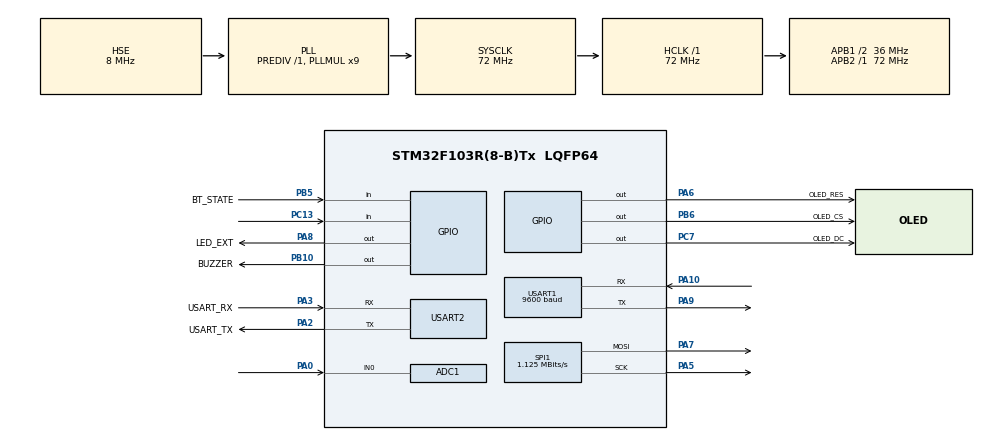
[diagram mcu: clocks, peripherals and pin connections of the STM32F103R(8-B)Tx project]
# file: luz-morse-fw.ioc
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ADC1.Channel-0\#ChannelRegularConversion=ADC_CHANNEL_0
ADC1.NbrOfConversionFlag=1
ADC1.Rank-0\#ChannelRegularConversion=1
ADC1.SamplingTime-0\#ChannelRegularConversion=ADC_SAMPLETIME_71CYCLES_5
ADC1.master=1
Mcu.Family=STM32F1
Mcu.Name=STM32F103R(8-B)Tx
Mcu.Package=LQFP64
NVIC.PriorityGroup=NVIC_PRIORITYGROUP_4
NVIC.USART1_IRQn=true\:0\:0\:false\:false\:true\:true\:true\:true
NVIC.USART2_IRQn=true\:0\:0\:false\:false\:true\:true\:true\:true
PA0-WKUP.Signal=ADCx_IN0
PA10.Mode=Asynchronous
PA10.Signal=USART1_RX
PA13.GPIO_Label=TMS
PA13.Mode=Serial_Wire
PA13.Signal=SYS_JTMS-SWDIO
PA14.GPIO_Label=TCK
PA14.Mode=Serial_Wire
PA14.Signal=SYS_JTCK-SWCLK
PA2.GPIO_Label=USART_TX
PA2.GPIO_Mode=GPIO_MODE_AF_PP
PA2.GPIO_PuPd=GPIO_NOPULL
PA2.GPIO_Speed=GPIO_SPEED_FREQ_LOW
PA2.Mode=Asynchronous
PA2.Signal=USART2_TX
PA3.GPIO_Label=USART_RX
PA3.GPIO_Mode=GPIO_MODE_AF_PP
PA3.GPIO_PuPd=GPIO_NOPULL
PA3.GPIO_Speed=GPIO_SPEED_FREQ_LOW
PA3.Mode=Asynchronous
PA3.Signal=USART2_RX
PA5.Mode=TX_Only_Simplex_Unidirect_Master
PA5.Signal=SPI1_SCK
PA6.GPIO_Label=OLED_RES
PA6.Signal=GPIO_Output
PA7.Mode=TX_Only_Simplex_Unidirect_Master
PA7.Signal=SPI1_MOSI
PA8.GPIO_Label=LED_EXT
PA8.Signal=GPIO_Output
PA9.Mode=Asynchronous
PA9.Signal=USART1_TX
PB10.GPIO_Label=BUZZER
PB10.Signal=GPIO_Output
PB3.GPIO_Label=SWO
PB3.Signal=SYS_JTDO-TRACESWO
PB5.GPIO_Label=BT_STATE
PB5.GPIO_PuPd=GPIO_PULLDOWN
PB5.Signal=GPIO_Input
PB6.GPIO_Label=OLED_CS
PB6.PinState=GPIO_PIN_SET
PB6.Signal=GPIO_Output
PC13-TAMPER-RTC.GPIO_PuPd=GPIO_PULLUP
PC13-TAMPER-RTC.Signal=GPIO_Input
PC14-OSC32_IN.Signal=RCC_OSC32_IN
PC15-OSC32_OUT.Signal=RCC_OSC32_OUT
PC7.GPIO_Label=OLED_DC
PC7.Signal=GPIO_Output
PD0-OSC_IN.Mode=HSE-External-Clock-Source
PD0-OSC_IN.Signal=RCC_OSC_IN
PD1-OSC_OUT.Mode=HSE-External-Clock-Source
PD1-OSC_OUT.Signal=RCC_OSC_OUT
ProjectManager.HeapSize=0x200
ProjectManager.StackSize=0x400
ProjectManager.TargetToolchain=STM32CubeIDE
RCC.ADCPresc=RCC_ADCPCLK2_DIV6
RCC.AHBFreq_Value=72000000
RCC.APB1CLKDivider=RCC_HCLK_DIV2
RCC.APB1Freq_Value=36000000
RCC.APB1TimFreq_Value=72000000
RCC.APB2Freq_Value=72000000
RCC.APB2TimFreq_Value=72000000
RCC.HCLKFreq_Value=72000000
RCC.PLLMUL=RCC_PLL_MUL9
RCC.PLLSourceVirtual=RCC_PLLSOURCE_HSE
RCC.RTCClockSelection=RCC_RTCCLKSOURCE_LSE
RCC.SYSCLKFreq_VALUE=72000000
RCC.SYSCLKSource=RCC_SYSCLKSOURCE_PLLCLK
RCC.USBFreq_Value=72000000
SH.ADCx_IN0.0=ADC1_IN0,IN0
SPI1.BaudRatePrescaler=SPI_BAUDRATEPRESCALER_64
SPI1.CalculateBaudRate=1.125 MBits/s
SPI1.Direction=SPI_DIRECTION_2LINES
SPI1.Mode=SPI_MODE_MASTER
SPI1.VirtualType=VM_MASTER
USART1.BaudRate=9600
USART1.VirtualMode=VM_ASYNC
USART2.VirtualMode=VM_ASYNC
board=NUCLEO-F103RB

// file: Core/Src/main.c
/* USER CODE BEGIN Header */
/**
  ******************************************************************************
  * @file           : main.c
  * @brief          : Main program body
  ******************************************************************************
  * @attention
  *
  * Copyright (c) 2026 STMicroelectronics.
  * All rights reserved.
  *
  * This software is licensed under terms that can be found in the LICENSE file
  * in the root directory of this software component.
  * If no LICENSE file comes with this software, it is provided AS-IS.
  *
  ******************************************************************************
  */
/* USER CODE END Header */
#include "main.h"

/* USER CODE BEGIN Includes */
#include "app/oled_ui.h"
#include "app/app.h"
#include "app/bt_link.h"
/* USER CODE END Includes */

/* USER CODE BEGIN PTD */
typedef struct {
  uint8_t src;   // 0=USART2 (PC), 1=USART1 (BT)
  uint8_t b;
} rx_item_t;
/* USER CODE END PTD */

/* USER CODE BEGIN PD */
#define RXQ_SZ 128
/* USER CODE END PD */

ADC_HandleTypeDef hadc1;

SPI_HandleTypeDef hspi1;

UART_HandleTypeDef huart1;
UART_HandleTypeDef huart2;

/* USER CODE BEGIN PV */
static uint8_t uart2_rx_byte = 0;  // PuTTY (USART2)
static uint8_t uart1_rx_byte = 0;  // HC-05 (USART1)

static volatile uint16_t rx_w = 0, rx_r = 0;
static rx_item_t rxq[RXQ_SZ];

static inline void rxq_push_isr(uint8_t src, uint8_t b)
{
  uint16_t next = (uint16_t)((rx_w + 1U) % RXQ_SZ);
  if (next == rx_r) return; // cola llena -> descartamos
  rxq[rx_w].src = src;
  rxq[rx_w].b   = b;
  rx_w = next;
}

static int rxq_pop(rx_item_t *out)
{
  int ok = 0;
  __disable_irq();
  if (rx_r != rx_w) {
    *out = rxq[rx_r];
    rx_r = (uint16_t)((rx_r + 1U) % RXQ_SZ);
    ok = 1;
  }
  __enable_irq();
  return ok;
}
/* USER CODE END PV */

void SystemClock_Config(void);
static void MX_GPIO_Init(void);
static void MX_USART2_UART_Init(void);
static void MX_ADC1_Init(void);
static void MX_USART1_UART_Init(void);
static void MX_SPI1_Init(void);

/* USER CODE BEGIN 0 */
void HAL_UART_RxCpltCallback(UART_HandleTypeDef *huart)
{
  if (huart->Instance == USART2)
  {
    rxq_push_isr(0u, uart2_rx_byte);
    HAL_UART_Receive_IT(&huart2, &uart2_rx_byte, 1);
  }
  else if (huart->Instance == USART1)
  {
    rxq_push_isr(1u, uart1_rx_byte);
    HAL_UART_Receive_IT(&huart1, &uart1_rx_byte, 1);
  }
}
/* USER CODE END 0 */

int main(void)
{

  /* MCU Configuration--------------------------------------------------------*/

  /* Reset of all peripherals, Initializes the Flash interface and the Systick. */
  HAL_Init();

  /* Configure the system clock */
  SystemClock_Config();

  /* Initialize all configured peripherals */
  MX_GPIO_Init();
  MX_USART2_UART_Init();
  MX_ADC1_Init();
  MX_USART1_UART_Init();
  MX_SPI1_Init();
  /* USER CODE BEGIN 2 */
  BtLink_Init(&huart1);
  App_Init(&huart2);

  /* OLED por SPI */
  OledUI_Init(&hspi1);

  HAL_UART_Receive_IT(&huart2, &uart2_rx_byte, 1);
  HAL_UART_Receive_IT(&huart1, &uart1_rx_byte, 1);
  /* USER CODE END 2 */

  /* Infinite loop */
  /* USER CODE BEGIN WHILE */
  while (1)
  {
    uint32_t now = HAL_GetTick();

    rx_item_t it;
    while (rxq_pop(&it)) {
      App_OnUartRxByte(it.b);
    }

    App_Task(now);
    OledUI_Task(now);

    // LedUI_Task(now);
    // Buzzer_Task(now);
  }
  /* USER CODE END 3 */
}

void SystemClock_Config(void)
{
  RCC_OscInitTypeDef RCC_OscInitStruct = {0};
  RCC_ClkInitTypeDef RCC_ClkInitStruct = {0};
  RCC_PeriphCLKInitTypeDef PeriphClkInit = {0};

  /** Initializes the RCC Oscillators according to the specified parameters
  * in the RCC_OscInitTypeDef structure.
  */
  RCC_OscInitStruct.OscillatorType = RCC_OSCILLATORTYPE_HSE;
  RCC_OscInitStruct.HSEState = RCC_HSE_BYPASS;
  RCC_OscInitStruct.HSEPredivValue = RCC_HSE_PREDIV_DIV1;
  RCC_OscInitStruct.HSIState = RCC_HSI_ON;
  RCC_OscInitStruct.PLL.PLLState = RCC_PLL_ON;
  RCC_OscInitStruct.PLL.PLLSource = RCC_PLLSOURCE_HSE;
  RCC_OscInitStruct.PLL.PLLMUL = RCC_PLL_MUL9;
  if (HAL_RCC_OscConfig(&RCC_OscInitStruct) != HAL_OK)
  {
    Error_Handler();
  }

  /** Initializes the CPU, AHB and APB buses clocks
  */
  RCC_ClkInitStruct.ClockType = RCC_CLOCKTYPE_HCLK|RCC_CLOCKTYPE_SYSCLK
                              |RCC_CLOCKTYPE_PCLK1|RCC_CLOCKTYPE_PCLK2;
  RCC_ClkInitStruct.SYSCLKSource = RCC_SYSCLKSOURCE_PLLCLK;
  RCC_ClkInitStruct.AHBCLKDivider = RCC_SYSCLK_DIV1;
  RCC_ClkInitStruct.APB1CLKDivider = RCC_HCLK_DIV2;
  RCC_ClkInitStruct.APB2CLKDivider = RCC_HCLK_DIV1;

  if (HAL_RCC_ClockConfig(&RCC_ClkInitStruct, FLASH_LATENCY_2) != HAL_OK)
  {
    Error_Handler();
  }
  PeriphClkInit.PeriphClockSelection = RCC_PERIPHCLK_ADC;
  PeriphClkInit.AdcClockSelection = RCC_ADCPCLK2_DIV6;
  if (HAL_RCCEx_PeriphCLKConfig(&PeriphClkInit) != HAL_OK)
  {
    Error_Handler();
  }
}

static void MX_ADC1_Init(void)
{

  ADC_ChannelConfTypeDef sConfig = {0};

  /** Common config
  */
  hadc1.Instance = ADC1;
  hadc1.Init.ScanConvMode = ADC_SCAN_DISABLE;
  hadc1.Init.ContinuousConvMode = DISABLE;
  hadc1.Init.DiscontinuousConvMode = DISABLE;
  hadc1.Init.ExternalTrigConv = ADC_SOFTWARE_START;
  hadc1.Init.DataAlign = ADC_DATAALIGN_RIGHT;
  hadc1.Init.NbrOfConversion = 1;
  if (HAL_ADC_Init(&hadc1) != HAL_OK)
  {
    Error_Handler();
  }

  /** Configure Regular Channel
  */
  sConfig.Channel = ADC_CHANNEL_0;
  sConfig.Rank = ADC_REGULAR_RANK_1;
  sConfig.SamplingTime = ADC_SAMPLETIME_71CYCLES_5;
  if (HAL_ADC_ConfigChannel(&hadc1, &sConfig) != HAL_OK)
  {
    Error_Handler();
  }

}

static void MX_SPI1_Init(void)
{

  /* SPI1 parameter configuration*/
  hspi1.Instance = SPI1;
  hspi1.Init.Mode = SPI_MODE_MASTER;
  hspi1.Init.Direction = SPI_DIRECTION_2LINES;
  hspi1.Init.DataSize = SPI_DATASIZE_8BIT;
  hspi1.Init.CLKPolarity = SPI_POLARITY_LOW;
  hspi1.Init.CLKPhase = SPI_PHASE_1EDGE;
  hspi1.Init.NSS = SPI_NSS_SOFT;
  hspi1.Init.BaudRatePrescaler = SPI_BAUDRATEPRESCALER_16;
  hspi1.Init.FirstBit = SPI_FIRSTBIT_MSB;
  hspi1.Init.TIMode = SPI_TIMODE_DISABLE;
  hspi1.Init.CRCCalculation = SPI_CRCCALCULATION_DISABLE;
  hspi1.Init.CRCPolynomial = 10;
  if (HAL_SPI_Init(&hspi1) != HAL_OK)
  {
    Error_Handler();
  }

}

static void MX_USART1_UART_Init(void)
{

  huart1.Instance = USART1;
  huart1.Init.BaudRate = 9600;
  huart1.Init.WordLength = UART_WORDLENGTH_8B;
  huart1.Init.StopBits = UART_STOPBITS_1;
  huart1.Init.Parity = UART_PARITY_NONE;
  huart1.Init.Mode = UART_MODE_TX_RX;
  huart1.Init.HwFlowCtl = UART_HWCONTROL_NONE;
  huart1.Init.OverSampling = UART_OVERSAMPLING_16;
  if (HAL_UART_Init(&huart1) != HAL_OK)
  {
    Error_Handler();
  }

}

static void MX_USART2_UART_Init(void)
{

  huart2.Instance = USART2;
  huart2.Init.BaudRate = 115200;
  huart2.Init.WordLength = UART_WORDLENGTH_8B;
  huart2.Init.StopBits = UART_STOPBITS_1;
  huart2.Init.Parity = UART_PARITY_NONE;
  huart2.Init.Mode = UART_MODE_TX_RX;
  huart2.Init.HwFlowCtl = UART_HWCONTROL_NONE;
  huart2.Init.OverSampling = UART_OVERSAMPLING_16;
  if (HAL_UART_Init(&huart2) != HAL_OK)
  {
    Error_Handler();
  }

}

static void MX_GPIO_Init(void)
{
  GPIO_InitTypeDef GPIO_InitStruct = {0};

  /* GPIO Ports Clock Enable */
  __HAL_RCC_GPIOC_CLK_ENABLE();
  __HAL_RCC_GPIOD_CLK_ENABLE();
  __HAL_RCC_GPIOA_CLK_ENABLE();
  __HAL_RCC_GPIOB_CLK_ENABLE();

  /*Configure GPIO pin Output Level */
  HAL_GPIO_WritePin(GPIOA, OLED_RES_Pin|LED_EXT_Pin, GPIO_PIN_RESET);

  /*Configure GPIO pin Output Level */
  HAL_GPIO_WritePin(GPIOB, BUZZER_Pin|OLED_DC_Pin, GPIO_PIN_RESET);

  /*Configure GPIO pin Output Level */
  HAL_GPIO_WritePin(OLED_CS_GPIO_Port, OLED_CS_Pin, GPIO_PIN_SET);

  /*Configure GPIO pin : PC13 */
  GPIO_InitStruct.Pin = GPIO_PIN_13;
  GPIO_InitStruct.Mode = GPIO_MODE_INPUT;
  GPIO_InitStruct.Pull = GPIO_PULLUP;
  HAL_GPIO_Init(GPIOC, &GPIO_InitStruct);

  /*Configure GPIO pins : OLED_RES_Pin LED_EXT_Pin */
  GPIO_InitStruct.Pin = OLED_RES_Pin|LED_EXT_Pin;
  GPIO_InitStruct.Mode = GPIO_MODE_OUTPUT_PP;
  GPIO_InitStruct.Pull = GPIO_NOPULL;
  GPIO_InitStruct.Speed = GPIO_SPEED_FREQ_LOW;
  HAL_GPIO_Init(GPIOA, &GPIO_InitStruct);

  /*Configure GPIO pins : BUZZER_Pin OLED_CS_Pin */
  GPIO_InitStruct.Pin = BUZZER_Pin|OLED_CS_Pin;
  GPIO_InitStruct.Mode = GPIO_MODE_OUTPUT_PP;
  GPIO_InitStruct.Pull = GPIO_NOPULL;
  GPIO_InitStruct.Speed = GPIO_SPEED_FREQ_LOW;
  HAL_GPIO_Init(GPIOB, &GPIO_InitStruct);

  /*Configure GPIO pin : BT_STATE_Pin */
  GPIO_InitStruct.Pin = BT_STATE_Pin;
  GPIO_InitStruct.Mode = GPIO_MODE_INPUT;
  GPIO_InitStruct.Pull = GPIO_PULLDOWN;
  HAL_GPIO_Init(BT_STATE_GPIO_Port, &GPIO_InitStruct);

  /*Configure GPIO pin : OLED_DC_Pin */
  GPIO_InitStruct.Pin = OLED_DC_Pin;
  GPIO_InitStruct.Mode = GPIO_MODE_OUTPUT_PP;
  GPIO_InitStruct.Pull = GPIO_NOPULL;
  GPIO_InitStruct.Speed = GPIO_SPEED_FREQ_HIGH;
  HAL_GPIO_Init(OLED_DC_GPIO_Port, &GPIO_InitStruct);

}

void Error_Handler(void)
{
  __disable_irq();
  while (1)
  {
  }
}
